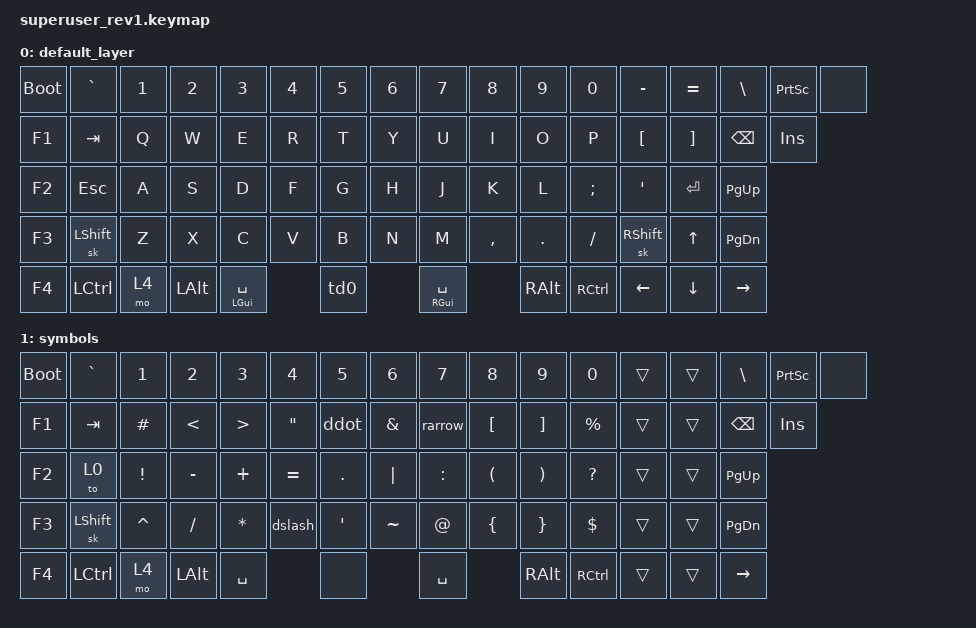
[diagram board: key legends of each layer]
/*
 * Copyright (c) 2020 The ZMK Contributors
 *
 * SPDX-License-Identifier: MIT
 */

#include <behaviors.dtsi>
#include <dt-bindings/zmk/keys.h>

/* &mt { */
/*     flavor = "tap-preferred"; */
/* }; */

/ {
    behaviors {
        mt0: mt0 {
            compatible = "zmk,behavior-hold-tap";
            #binding-cells = <2>;
            flavor = "tap-preferred";
            tapping-term-ms = <200>;
            quick-tap-ms = <200>;
            require-prior-idle-ms = <125>;
            bindings = <&kp>, <&kp>;
        };

        td0: td0 {
            compatible = "zmk,behavior-tap-dance";
            #binding-cells = <0>;
            tapping-term-ms = <200>;
            bindings = <&sl 1>, <&to 1>;
        };

        rarrow: rarrow {
            compatible = "zmk,behavior-macro";
            #binding-cells = <0>;
            bindings = <&macro_tap &kp EQUAL &kp GT>;
        };

        dslash: dslash {
            compatible = "zmk,behavior-macro";
            #binding-cells = <0>;
            bindings = <&macro_tap &kp FSLH &kp FSLH>;
        };

        ddot: ddot {
            compatible = "zmk,behavior-macro";
            #binding-cells = <0>;
            bindings = <&macro_tap &kp DOT &kp DOT>;
        };
    };

    keymap {
        compatible = "zmk,keymap";

        // layer 0
        default_layer {
            bindings = <
                &bootloader &kp GRAVE &kp N1 &kp N2   &kp N3    &kp N4 &kp N5   &kp N6   &kp N7    &kp N8    &kp N9   &kp N0    &kp MINUS &kp EQUAL &kp BSLH &kp PSCRN &none
                &kp F1      &kp TAB   &kp Q  &kp W    &kp E     &kp R  &kp T    &kp Y    &kp U     &kp I     &kp O    &kp P     &kp LBKT  &kp RBKT  &kp BSPC &kp INS
                &kp F2      &kp ESC   &kp A  &kp S    &kp D     &kp F  &kp G    &kp H    &kp J     &kp K     &kp L    &kp SEMI  &kp APOS  &kp ENTER &kp PG_UP
                &kp F3      &sk LSHFT &kp Z  &kp X    &kp C     &kp V  &kp B    &kp N    &kp M     &kp COMMA &kp DOT  &kp SLASH &sk RSHFT &kp UP    &kp PG_DN
                &kp F4      &kp LCTRL &mo 4  &kp LALT &mt0 LGUI SPACE  &td0              &mt0 RGUI SPACE     &kp RALT &kp RCTRL &kp LEFT  &kp DOWN  &kp RIGHT
            >;
        };

        // layer 1
        symbols {
            bindings = <
                &bootloader &kp GRAVE &kp N1    &kp N2    &kp N3    &kp N4   &kp N5   &kp N6    &kp N7    &kp N8    &kp N9   &kp N0    &trans    &trans    &kp BSLH &kp PSCRN &none
                &kp F1      &kp TAB   &kp HASH  &kp LT    &kp GT    &kp DQT  &ddot    &kp AMPS  &rarrow   &kp LBKT  &kp RBKT &kp PRCNT &trans    &trans    &kp BSPC &kp INS
                &kp F2      &to 0     &kp EXCL  &kp MINUS &kp PLUS  &kp EQL  &kp DOT  &kp PIPE  &kp COLON &kp LPAR  &kp RPAR &kp QMARK &trans    &trans    &kp PG_UP
                &kp F3      &sk LSHFT &kp CARET &kp FSLH  &kp ASTRK &dslash  &kp APOS &kp TILDE &kp AT    &kp LBRC  &kp RBRC &kp DLLR  &trans    &trans    &kp PG_DN
                &kp F4      &kp LCTRL &mo 4     &kp LALT  &kp SPACE          &none              &kp SPACE           &kp RALT &kp RCTRL &trans    &trans    &kp RIGHT
            >;
        };

        /// lower {
        ///     bindings = <
        ///         &kp LS(GRAVE) &kp LS(N1) &kp LS(N2) &kp LS(N3) &kp LS(N4) &kp LS(N5) &kp LS(N6) &kp LS(N7) &kp LS(N8) &kp LS(N9) &kp LS(N0) &kp DEL
        ///         &kp DEL &kp F1 &kp F2 &kp F3 &kp F4 &kp F5 &kp F6 &kp UNDER &kp PLUS &kp LBRC &kp RBRC &kp PIPE
        ///         &trans &kp F7 &kp F8 &kp F9 &kp F10 &kp F11 &kp F12 &kp LS(HASH) &kp LS(BSLH) &kp HOME &kp END &trans
        ///         &trans &trans &trans &trans &trans &trans &trans &trans &kp C_NEXT &kp C_VOL_DN &kp C_VOL_UP &kp C_PP
        ///     >;
        /// };
        ///
        /// raise {
        ///     bindings = <
        ///         &kp GRAVE &kp N1 &kp N2 &kp N3 &kp N4 &kp N5 &kp N6 &kp N7 &kp N8 &kp N9 &kp N0 &kp BSPC
        ///         &kp DEL &kp F1 &kp F2 &kp F3 &kp F4 &kp F5 &kp F6 &kp MINUS &kp EQUAL &kp LBKT &kp RBKT &kp BSLH
        ///         &trans &kp F7 &kp F8 &kp F9 &kp F10 &kp F11 &kp F12 &kp HASH &kp BSLH &kp PG_UP &kp PG_DN &trans
        ///         &sys_reset &bootloader &trans &trans &trans &trans &trans &trans &kp C_NEXT &kp C_VOL_DN &kp C_VOL_UP &kp C_PP
        ///     >;
        /// };
    };
};
